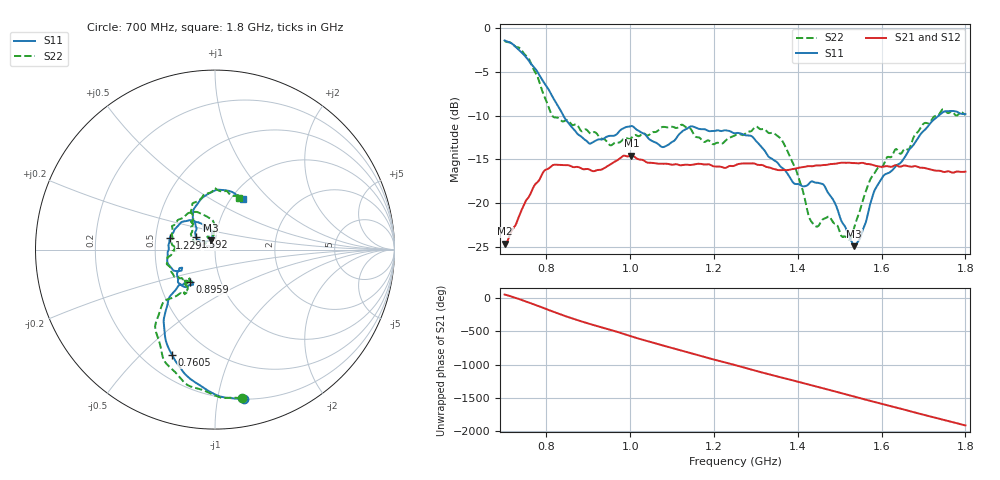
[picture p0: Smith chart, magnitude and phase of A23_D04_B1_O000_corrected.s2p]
! Created with skrf 1.9.0 (http://scikit-rf.org).
# Hz S RI R 50.0
!freq ReS11 ImS11 ReS21 ImS21 ReS12 ImS12 ReS22 ImS22
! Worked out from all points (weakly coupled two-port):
!   1601 points, 700 MHz to 1.8 GHz, reference 50 ohm
!   highest |S21| = -14.57 dB at 1.002 GHz (marker M1); lowest = -24.6 dB at 701.4 MHz (marker M2)
!   lowest |S11| = -24.9 dB at 1.535 GHz (marker M3), VSWR 1.12, Z = 47.3 + j4.86 ohm
!   |S11| at or under -10 dB: 839.9 MHz to 1.736 GHz (896.5 MHz wide, 69.6 % of centre)
!   |S22| runs from -24.2 to -1.5 dB; largest |S21 - S12| = 0.0034
!   S11 on the Smith chart (normalised r, x): 700 MHz: 0.20, -1.19; 760.5 MHz: 0.32, -0.63; 895.9 MHz: 0.72, -0.27; 1.229 GHz: 0.59, +0.08; 1.592 GHz: 0.80, +0.12; 1.8 GHz: 1.12, +0.71
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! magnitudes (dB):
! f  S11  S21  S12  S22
! 700 MHz  -1.4  -24.6  -24.4  -1.5
! 701.4 MHz  -1.5  -24.6  -24.2  -1.5
! 760.5 MHz  -3.9  -19.1  -18.9  -3.8
! 814.1 MHz  -7.8  -15.7  -15.7  -10.0
! 883.6 MHz  -12.4  -16.0  -15.9  -11.8
! 895.9 MHz  -12.9  -16.1  -16.2  -11.6
! 953 MHz  -12.3  -15.6  -15.6  -13.4
! 1.002 GHz  -11.2  -14.6  -14.7  -12.6
! 1.067 GHz  -13.3  -15.5  -15.4  -11.7
! 1.145 GHz  -11.2  -15.6  -15.6  -11.6
! 1.229 GHz  -11.7  -15.9  -15.8  -12.8
! 1.25 GHz  -12.0  -15.7  -15.6  -12.3
! 1.359 GHz  -15.8  -16.2  -16.2  -12.6
! 1.393 GHz  -17.8  -16.1  -16.0  -15.9
! 1.434 GHz  -17.5  -15.8  -15.7  -22.2
! 1.464 GHz  -18.0  -15.6  -15.6  -21.7
! 1.52 GHz  -23.5  -15.4  -15.4  -24.1
! 1.535 GHz  -24.9  -15.4  -15.4  -22.8
! 1.592 GHz  -17.8  -15.8  -15.8  -16.0
! 1.617 GHz  -16.5  -15.8  -15.8  -14.7
! 1.742 GHz  -9.8  -16.3  -16.3  -9.5
! 1.8 GHz  -9.8  -16.4  -16.4  -9.9
